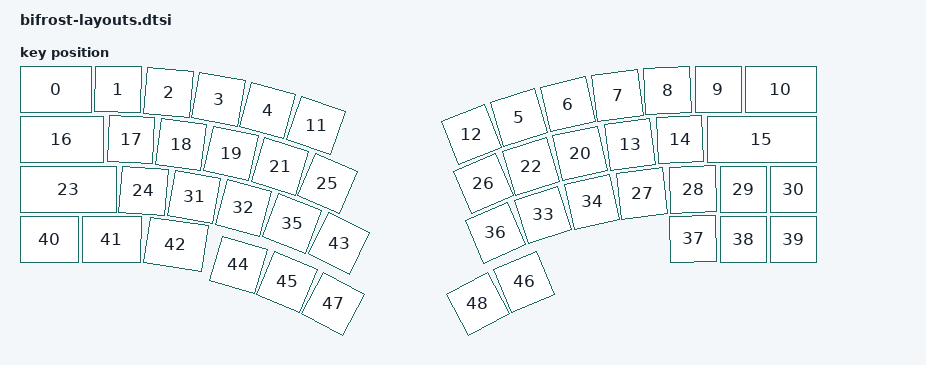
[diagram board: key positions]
/*
 * Copyright (c) 2026 hringdrifi
 * SPDX-License-Identifier: MIT
 */

#include <physical_layouts.dtsi>

/ {
    bifrost_physical_layout: bifrost_physical_layout {
        compatible = "zmk,physical-layout";
        display-name = "Bifrost";
        transform = <&default_transform>;
        kscan = <&kscan0>;

        /*
         * Generated from the Bifrost Smiðr project. The trackball object is
         * intentionally omitted. Entries follow default_transform order.
         */
        keys  //                     w   h     x    y     rot    rx   ry
            = <&key_physical_attrs 150 100     0    0       0     0    0> /*  0: TAB */
            , <&key_physical_attrs 100 100   150    0     115   200   50> /*  1: Q */
            , <&key_physical_attrs 100 100   251    6     574   301   56> /*  2: W */
            , <&key_physical_attrs 100 100   351   20    1032   401   70> /*  3: E */
            , <&key_physical_attrs 100 100   449   42    1491   499   92> /*  4: R */
            , <&key_physical_attrs 100 100   952   56 (-1720)  1002  106> /*  5: U */
            , <&key_physical_attrs 100 100  1050   30 (-1262)  1100   80> /*  6: I */
            , <&key_physical_attrs 100 100  1149   12  (-803)  1199   62> /*  7: O */
            , <&key_physical_attrs 100 100  1249    2  (-344)  1299   52> /*  8: P */
            , <&key_physical_attrs 100 100  1350    0       0  1350    0> /*  9: QUOT */
            , <&key_physical_attrs 150 100  1450    0       0  1450    0> /* 10: BSLS */
            , <&key_physical_attrs 100 100   546   72    1950   596  122> /* 11: T */
            , <&key_physical_attrs 100 100   857   90 (-2179)   907  140> /* 12: Y */
            , <&key_physical_attrs 100 100  1174  110  (-750)  1224  160> /* 13: L */
            , <&key_physical_attrs 100 100  1274  101  (-250)  1324  151> /* 14: SCLN */
            , <&key_physical_attrs 225 100  1375  100       0  1375  100> /* 15: ENT */
            , <&key_physical_attrs 175 100     0  100       0     0  100> /* 16: CAPS */
            , <&key_physical_attrs 100 100   176  101     250   226  151> /* 17: A */
            , <&key_physical_attrs 100 100   276  110     750   326  160> /* 18: S */
            , <&key_physical_attrs 100 100   376  128    1250   426  178> /* 19: D */
            , <&key_physical_attrs 100 100  1074  128 (-1250)  1124  178> /* 20: K */
            , <&key_physical_attrs 100 100   474  154    1750   524  204> /* 21: F */
            , <&key_physical_attrs 100 100   976  154 (-1750)  1026  204> /* 22: J */
            , <&key_physical_attrs 200 100     0  200       0     0  200> /* 23: MO(1) */
            , <&key_physical_attrs 100 100   201  203     412   251  253> /* 24: Z */
            , <&key_physical_attrs 100 100   569  188    2250   619  238> /* 25: G */
            , <&key_physical_attrs 100 100   881  188 (-2250)   931  238> /* 26: H */
            , <&key_physical_attrs 100 100  1198  208  (-687)  1248  258> /* 27: DOT */
            , <&key_physical_attrs 100 100  1300  200  (-137)  1350  250> /* 28: SLSH */
            , <&key_physical_attrs 100 100  1400  200       0  1400  200> /* 29: UP */
            , <&key_physical_attrs 100 100  1500  200       0  1500  200> /* 30: RSFT */
            , <&key_physical_attrs 100 100   302  215     961   352  265> /* 31: X */
            , <&key_physical_attrs 100 100   401  237    1511   451  287> /* 32: C */
            , <&key_physical_attrs 100 100  1000  251 (-1785)  1050  301> /* 33: M */
            , <&key_physical_attrs 100 100  1098  225 (-1236)  1148  275> /* 34: COMM */
            , <&key_physical_attrs 100 100   498  268    2060   548  318> /* 35: V */
            , <&key_physical_attrs 100 100   905  287 (-2335)   955  337> /* 36: N */
            , <&key_physical_attrs 100 100  1299  300  (-152)  1299  300> /* 37: LEFT */
            , <&key_physical_attrs 100 100  1400  300       0  1400  300> /* 38: DOWN */
            , <&key_physical_attrs 100 100  1500  300       0  1500  300> /* 39: RIGHT */
            , <&key_physical_attrs 125 100     0  300       0     0  300> /* 40: LCTL */
            , <&key_physical_attrs 125 100   125  300      77   188  350> /* 41: LGUI */
            , <&key_physical_attrs 125 100   253  310     843   316  360> /* 42: LALT */
            , <&key_physical_attrs 100 100   592  308    2609   642  358> /* 43: B */
            , <&key_physical_attrs 100 100   391  351    1632   441  401> /* 44: BSPC */
            , <&key_physical_attrs 100 100   488  385    2250   538  435> /* 45: SPC */
            , <&key_physical_attrs 100 100   962  385 (-2250)  1012  435> /* 46: SPC */
            , <&key_physical_attrs 100 100   580  429    2868   630  479> /* 47: DEL */
            , <&key_physical_attrs 100 100   870  429 (-2868)   920  479> /* 48: ESC */
            ;
    };
};
